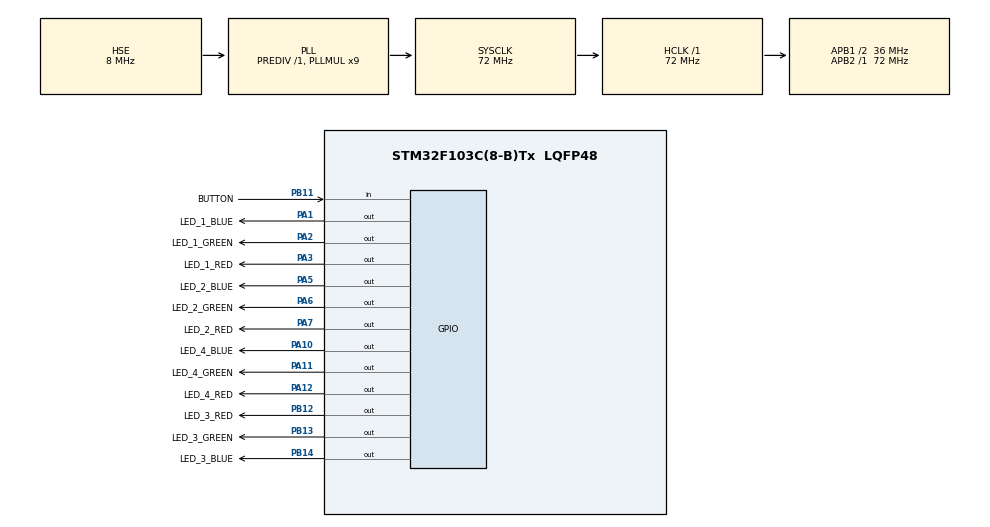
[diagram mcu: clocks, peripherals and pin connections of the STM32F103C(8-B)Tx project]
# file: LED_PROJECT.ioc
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Mcu.Family=STM32F1
Mcu.Name=STM32F103C(8-B)Tx
Mcu.Package=LQFP48
NVIC.PriorityGroup=NVIC_PRIORITYGROUP_4
PA1.GPIO_Label=LED_1_BLUE
PA1.Signal=GPIO_Output
PA10.GPIO_Label=LED_4_BLUE
PA10.GPIO_PuPd=GPIO_NOPULL
PA10.Signal=GPIO_Output
PA11.GPIO_Label=LED_4_GREEN
PA11.GPIO_PuPd=GPIO_NOPULL
PA11.Signal=GPIO_Output
PA12.GPIO_Label=LED_4_RED
PA12.GPIO_PuPd=GPIO_NOPULL
PA12.Signal=GPIO_Output
PA13.Mode=Serial_Wire
PA13.Signal=SYS_JTMS-SWDIO
PA14.Mode=Serial_Wire
PA14.Signal=SYS_JTCK-SWCLK
PA2.GPIO_Label=LED_1_GREEN
PA2.Signal=GPIO_Output
PA3.GPIO_Label=LED_1_RED
PA3.Signal=GPIO_Output
PA5.GPIO_Label=LED_2_BLUE
PA5.GPIO_PuPd=GPIO_NOPULL
PA5.Signal=GPIO_Output
PA6.GPIO_Label=LED_2_GREEN
PA6.GPIO_PuPd=GPIO_NOPULL
PA6.Signal=GPIO_Output
PA7.GPIO_Label=LED_2_RED
PA7.GPIO_PuPd=GPIO_NOPULL
PA7.Signal=GPIO_Output
PB11.GPIO_Label=BUTTON
PB11.GPIO_PuPd=GPIO_PULLDOWN
PB11.Signal=GPIO_Input
PB12.GPIO_Label=LED_3_RED
PB12.GPIO_PuPd=GPIO_NOPULL
PB12.Signal=GPIO_Output
PB13.GPIO_Label=LED_3_GREEN
PB13.GPIO_PuPd=GPIO_NOPULL
PB13.Signal=GPIO_Output
PB14.GPIO_Label=LED_3_BLUE
PB14.GPIO_PuPd=GPIO_NOPULL
PB14.Signal=GPIO_Output
PD0-OSC_IN.Mode=HSE-External-Oscillator
PD0-OSC_IN.Signal=RCC_OSC_IN
PD1-OSC_OUT.Mode=HSE-External-Oscillator
PD1-OSC_OUT.Signal=RCC_OSC_OUT
ProjectManager.HeapSize=0x200
ProjectManager.StackSize=0x400
ProjectManager.TargetToolchain=MDK-ARM V5.32
RCC.AHBFreq_Value=72000000
RCC.APB1CLKDivider=RCC_HCLK_DIV2
RCC.APB1Freq_Value=36000000
RCC.APB1TimFreq_Value=72000000
RCC.APB2Freq_Value=72000000
RCC.APB2TimFreq_Value=72000000
RCC.HCLKFreq_Value=72000000
RCC.PLLMUL=RCC_PLL_MUL9
RCC.PLLSourceVirtual=RCC_PLLSOURCE_HSE
RCC.SYSCLKFreq_VALUE=72000000
RCC.SYSCLKSource=RCC_SYSCLKSOURCE_PLLCLK
RCC.USBFreq_Value=72000000
board=custom

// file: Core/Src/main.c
/* USER CODE BEGIN Header */
/**
  ******************************************************************************
  * @file           : main.c
  * @brief          : Main program body
  ******************************************************************************
  * @attention
  *
  * Copyright (c) 2026 STMicroelectronics.
  * All rights reserved.
  *
  * This software is licensed under terms that can be found in the LICENSE file
  * in the root directory of this software component.
  * If no LICENSE file comes with this software, it is provided AS-IS.
  *
  ******************************************************************************
  */
/* USER CODE END Header */
#include "main.h"

/* USER CODE BEGIN Includes */
#include "led_rgb.h"
#include "button.h"
#include "led_effect.h"

/* USER CODE END Includes */

/* USER CODE BEGIN PV */
GPIO_TypeDef *Led_rgb_1_ports[] = {LED_1_RED_GPIO_Port, LED_1_GREEN_GPIO_Port, LED_1_BLUE_GPIO_Port};
uint16_t Led_rgb_1_pins[] = {LED_1_RED_Pin, LED_1_GREEN_Pin, LED_1_BLUE_Pin};
RGB Led_rgb_1;

GPIO_TypeDef *Led_rgb_2_ports[] = {LED_2_RED_GPIO_Port, LED_2_GREEN_GPIO_Port, LED_2_BLUE_GPIO_Port};
uint16_t Led_rgb_2_pins[] = {LED_2_RED_Pin, LED_2_GREEN_Pin, LED_2_BLUE_Pin};
RGB Led_rgb_2;

GPIO_TypeDef *Led_rgb_3_ports[] = {LED_3_RED_GPIO_Port, LED_3_GREEN_GPIO_Port, LED_3_BLUE_GPIO_Port};
uint16_t Led_rgb_3_pins[] = {LED_3_RED_Pin, LED_3_GREEN_Pin, LED_3_BLUE_Pin};
RGB Led_rgb_3;

GPIO_TypeDef *Led_rgb_4_ports[] = {LED_4_RED_GPIO_Port, LED_4_GREEN_GPIO_Port, LED_4_BLUE_GPIO_Port};
uint16_t Led_rgb_4_pins[] = {LED_4_RED_Pin, LED_4_GREEN_Pin, LED_4_BLUE_Pin};
RGB Led_rgb_4;

Button_Typedef Button;

LED_CONTROL Led_control;
/* USER CODE END PV */

void SystemClock_Config(void);
static void MX_GPIO_Init(void);

/* USER CODE BEGIN 0 */

void btn_pressing_callback(Button_Typedef *buttonX)
{
	switch (Led_control.led_effects)
	{
		case STATE_OFF:
			Led_control.led_effects = STATE_FADE_IN_OUT;
			break;
		case STATE_FADE_IN_OUT:
			Led_control.led_effects = STATE_RAINBOW_BLINK;
			break;
		case STATE_RAINBOW_BLINK:
			Led_control.led_effects = STATE_RAINBOW_FOLLOW;
			break;
		case STATE_RAINBOW_FOLLOW:
			Led_control.led_effects = STATE_OFF;
			break;
		default:
			break;
	}
}
void set_led_effects()
{
	switch (Led_control.led_effects)
	{
		case STATE_OFF:
			state_off(&Led_control);
			break;
		case STATE_FADE_IN_OUT:
			state_fade_in_out(&Led_control);
			break;
		case STATE_RAINBOW_BLINK:
			state_rainbow_blink(&Led_control);
			break;
		case STATE_RAINBOW_FOLLOW:
			state_rainbow_follow(&Led_control);
			break;
		default:
			break;
	}
}

/* USER CODE END 0 */

int main(void)
{

  /* MCU Configuration--------------------------------------------------------*/

  /* Reset of all peripherals, Initializes the Flash interface and the Systick. */
  HAL_Init();

  /* USER CODE BEGIN Init */
	led_rgb_init(&Led_rgb_1, Led_rgb_1_ports, Led_rgb_1_pins);
	led_rgb_init(&Led_rgb_2, Led_rgb_2_ports, Led_rgb_2_pins);
	led_rgb_init(&Led_rgb_3, Led_rgb_3_ports, Led_rgb_3_pins);
	led_rgb_init(&Led_rgb_4, Led_rgb_4_ports, Led_rgb_4_pins);

	button_init(&Button, BUTTON_GPIO_Port, BUTTON_Pin);
	uint32_t start = HAL_GetTick();
	led_effects_init(&Led_control, &Led_rgb_1, &Led_rgb_2, &Led_rgb_3, &Led_rgb_4);
  /* USER CODE END Init */

  /* Configure the system clock */
  SystemClock_Config();

  /* Initialize all configured peripherals */
  MX_GPIO_Init();
  /* Infinite loop */
  while (1)
  {

    /* USER CODE BEGIN 3 */

		button_handle(&Button);
		set_led_effects();

}

  /* USER CODE END 3 */
}

void SystemClock_Config(void)
{
  RCC_OscInitTypeDef RCC_OscInitStruct = {0};
  RCC_ClkInitTypeDef RCC_ClkInitStruct = {0};

  /** Initializes the RCC Oscillators according to the specified parameters
  * in the RCC_OscInitTypeDef structure.
  */
  RCC_OscInitStruct.OscillatorType = RCC_OSCILLATORTYPE_HSE;
  RCC_OscInitStruct.HSEState = RCC_HSE_ON;
  RCC_OscInitStruct.HSEPredivValue = RCC_HSE_PREDIV_DIV1;
  RCC_OscInitStruct.HSIState = RCC_HSI_ON;
  RCC_OscInitStruct.PLL.PLLState = RCC_PLL_ON;
  RCC_OscInitStruct.PLL.PLLSource = RCC_PLLSOURCE_HSE;
  RCC_OscInitStruct.PLL.PLLMUL = RCC_PLL_MUL9;
  if (HAL_RCC_OscConfig(&RCC_OscInitStruct) != HAL_OK)
  {
    Error_Handler();
  }

  /** Initializes the CPU, AHB and APB buses clocks
  */
  RCC_ClkInitStruct.ClockType = RCC_CLOCKTYPE_HCLK|RCC_CLOCKTYPE_SYSCLK
                              |RCC_CLOCKTYPE_PCLK1|RCC_CLOCKTYPE_PCLK2;
  RCC_ClkInitStruct.SYSCLKSource = RCC_SYSCLKSOURCE_PLLCLK;
  RCC_ClkInitStruct.AHBCLKDivider = RCC_SYSCLK_DIV1;
  RCC_ClkInitStruct.APB1CLKDivider = RCC_HCLK_DIV2;
  RCC_ClkInitStruct.APB2CLKDivider = RCC_HCLK_DIV1;

  if (HAL_RCC_ClockConfig(&RCC_ClkInitStruct, FLASH_LATENCY_2) != HAL_OK)
  {
    Error_Handler();
  }
}

static void MX_GPIO_Init(void)
{
  GPIO_InitTypeDef GPIO_InitStruct = {0};

  /* GPIO Ports Clock Enable */
  __HAL_RCC_GPIOD_CLK_ENABLE();
  __HAL_RCC_GPIOA_CLK_ENABLE();
  __HAL_RCC_GPIOB_CLK_ENABLE();

  /*Configure GPIO pin Output Level */
  HAL_GPIO_WritePin(GPIOA, LED_1_BLUE_Pin|LED_1_GREEN_Pin|LED_1_RED_Pin|LED_2_BLUE_Pin
                          |LED_2_GREEN_Pin|LED_2_RED_Pin|LED_4_BLUE_Pin|LED_4_GREEN_Pin
                          |LED_4_RED_Pin, GPIO_PIN_RESET);

  /*Configure GPIO pin Output Level */
  HAL_GPIO_WritePin(GPIOB, LED_3_RED_Pin|LED_3_GREEN_Pin|LED_3_BLUE_Pin, GPIO_PIN_RESET);

  /*Configure GPIO pins : LED_1_BLUE_Pin LED_1_GREEN_Pin LED_1_RED_Pin LED_2_BLUE_Pin
                           LED_2_GREEN_Pin LED_2_RED_Pin LED_4_BLUE_Pin LED_4_GREEN_Pin
                           LED_4_RED_Pin */
  GPIO_InitStruct.Pin = LED_1_BLUE_Pin|LED_1_GREEN_Pin|LED_1_RED_Pin|LED_2_BLUE_Pin
                          |LED_2_GREEN_Pin|LED_2_RED_Pin|LED_4_BLUE_Pin|LED_4_GREEN_Pin
                          |LED_4_RED_Pin;
  GPIO_InitStruct.Mode = GPIO_MODE_OUTPUT_PP;
  GPIO_InitStruct.Pull = GPIO_NOPULL;
  GPIO_InitStruct.Speed = GPIO_SPEED_FREQ_LOW;
  HAL_GPIO_Init(GPIOA, &GPIO_InitStruct);

  /*Configure GPIO pin : BUTTON_Pin */
  GPIO_InitStruct.Pin = BUTTON_Pin;
  GPIO_InitStruct.Mode = GPIO_MODE_INPUT;
  GPIO_InitStruct.Pull = GPIO_PULLDOWN;
  HAL_GPIO_Init(BUTTON_GPIO_Port, &GPIO_InitStruct);

  /*Configure GPIO pins : LED_3_RED_Pin LED_3_GREEN_Pin LED_3_BLUE_Pin */
  GPIO_InitStruct.Pin = LED_3_RED_Pin|LED_3_GREEN_Pin|LED_3_BLUE_Pin;
  GPIO_InitStruct.Mode = GPIO_MODE_OUTPUT_PP;
  GPIO_InitStruct.Pull = GPIO_NOPULL;
  GPIO_InitStruct.Speed = GPIO_SPEED_FREQ_LOW;
  HAL_GPIO_Init(GPIOB, &GPIO_InitStruct);

}

void Error_Handler(void)
{
  __disable_irq();
  while (1)
  {
  }
}
